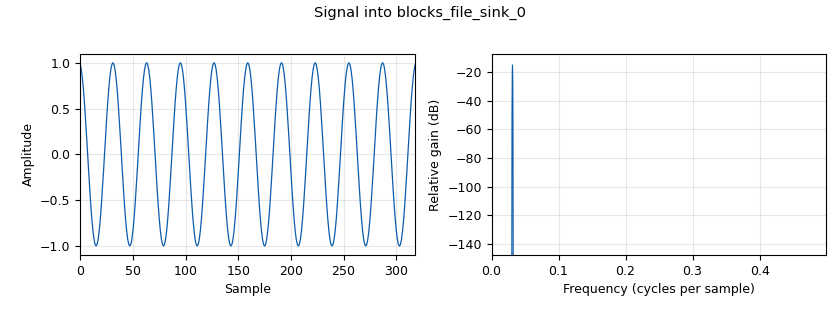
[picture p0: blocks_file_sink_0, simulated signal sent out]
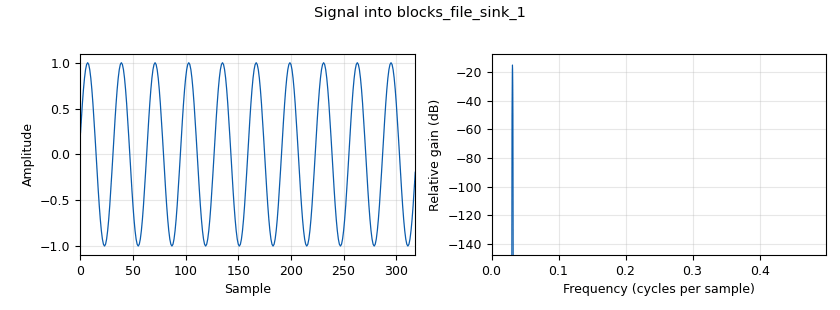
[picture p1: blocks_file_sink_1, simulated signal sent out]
<?xml version='1.0' encoding='utf-8'?>
<?grc format='1' created='3.7.5'?>
<flow_graph>
<block>
<key>options</key>
<param><key>id</key><value>top_block</value></param>
<param><key>generate_options</key><value>wx_gui</value></param>
<param><key>category</key><value>Custom</value></param>
</block>
<block>
<key>variable</key>
<param><key>id</key><value>samp_rate</value></param>
<param><key>value</key><value>32000</value></param>
</block>
<block>
<key>blocks_throttle</key>
<param><key>id</key><value>blocks_throttle_0</value></param>
<param><key>type</key><value>complex</value></param>
<param><key>samples_per_second</key><value>32000</value></param>
</block>
<block>
<key>blocks_complex_to_float</key>
<param><key>id</key><value>blocks_complex_to_float_0</value></param>
</block>
<block>
<key>analog_sig_source_x</key>
<param><key>id</key><value>analog_sig_source_x_0</value></param>
<param><key>type</key><value>complex</value></param>
<param><key>samp_rate</key><value>32000</value></param>
<param><key>waveform</key><value>analog.GR_COS_WAVE</value></param>
<param><key>freq</key><value>1000</value></param>
<param><key>amp</key><value>1</value></param>
<param><key>offset</key><value>0</value></param>
</block>
<block>
<key>blocks_file_sink</key>
<param><key>id</key><value>blocks_file_sink_0</value></param>
<param><key>file</key><value>test.grc</value></param>
<param><key>type</key><value>float</value></param>
</block>
<block>
<key>blocks_file_sink</key>
<param><key>id</key><value>blocks_file_sink_1</value></param>
<param><key>file</key><value>test2.txt</value></param>
<param><key>type</key><value>float</value></param>
</block>
<connection><source_block_id>analog_sig_source_x_0</source_block_id><sink_block_id>blocks_throttle_0</sink_block_id><source_key>0</source_key><sink_key>0</sink_key></connection>
<connection><source_block_id>blocks_throttle_0</source_block_id><sink_block_id>blocks_complex_to_float_0</sink_block_id><source_key>0</source_key><sink_key>0</sink_key></connection>
<connection><source_block_id>blocks_complex_to_float_0</source_block_id><sink_block_id>blocks_file_sink_1</sink_block_id><source_key>1</source_key><sink_key>0</sink_key></connection>
<connection><source_block_id>blocks_complex_to_float_0</source_block_id><sink_block_id>blocks_file_sink_0</sink_block_id><source_key>0</source_key><sink_key>0</sink_key></connection>
</flow_graph>
